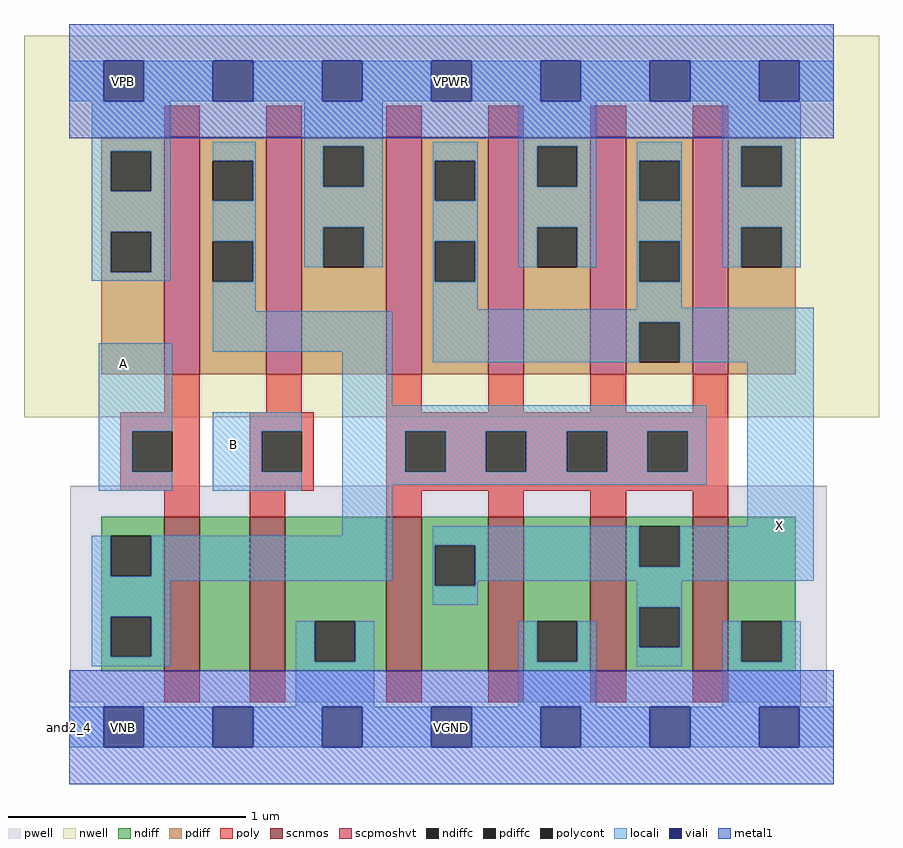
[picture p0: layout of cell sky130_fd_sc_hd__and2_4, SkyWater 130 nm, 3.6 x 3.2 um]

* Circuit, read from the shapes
.subckt sky130_fd_sc_hd__and2_4 A B VGND VNB VPB VPWR X
XM1 n1 A n2 VNB sky130_fd_pr__nfet_01v8 w=0.65 l=0.15
XM2 VGND B n1 VNB sky130_fd_pr__nfet_01v8 w=0.65 l=0.15
XM3 X n2 VGND VNB sky130_fd_pr__nfet_01v8 w=0.65 l=0.15 m=4
XM4 n2 A VPWR VPB sky130_fd_pr__pfet_01v8_hvt w=1 l=0.15
XM5 VPWR B n2 VPB sky130_fd_pr__pfet_01v8_hvt w=1 l=0.15
XM6 X n2 VPWR VPB sky130_fd_pr__pfet_01v8_hvt w=1 l=0.15 m=4
.ends

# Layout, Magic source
magic
tech sky130A
magscale 1 2
<< nwell >>
rect -38 261 682 582
<< pwell >>
rect 1 21 638 203
rect 29 -17 63 21
<< scnmos >>
rect 80 47 110 177
rect 152 47 182 177
rect 267 47 297 177
rect 353 47 383 177
rect 439 47 469 177
rect 525 47 555 177
<< scpmoshvt >>
rect 80 297 110 497
rect 166 297 196 497
rect 267 297 297 497
rect 353 297 383 497
rect 439 297 469 497
rect 525 297 555 497
<< ndiff >>
rect 27 161 80 177
rect 27 127 35 161
rect 69 127 80 161
rect 27 93 80 127
rect 27 59 35 93
rect 69 59 80 93
rect 27 47 80 59
rect 110 47 152 177
rect 182 89 267 177
rect 182 55 207 89
rect 241 55 267 89
rect 182 47 267 55
rect 297 153 353 177
rect 297 119 308 153
rect 342 119 353 153
rect 297 47 353 119
rect 383 89 439 177
rect 383 55 394 89
rect 428 55 439 89
rect 383 47 439 55
rect 469 169 525 177
rect 469 135 480 169
rect 514 135 525 169
rect 469 101 525 135
rect 469 67 480 101
rect 514 67 525 101
rect 469 47 525 67
rect 555 89 612 177
rect 555 55 566 89
rect 600 55 612 89
rect 555 47 612 55
<< pdiff >>
rect 27 485 80 497
rect 27 451 35 485
rect 69 451 80 485
rect 27 417 80 451
rect 27 383 35 417
rect 69 383 80 417
rect 27 297 80 383
rect 110 477 166 497
rect 110 443 121 477
rect 155 443 166 477
rect 110 409 166 443
rect 110 375 121 409
rect 155 375 166 409
rect 110 297 166 375
rect 196 489 267 497
rect 196 455 214 489
rect 248 455 267 489
rect 196 421 267 455
rect 196 387 214 421
rect 248 387 267 421
rect 196 297 267 387
rect 297 477 353 497
rect 297 443 308 477
rect 342 443 353 477
rect 297 409 353 443
rect 297 375 308 409
rect 342 375 353 409
rect 297 297 353 375
rect 383 489 439 497
rect 383 455 394 489
rect 428 455 439 489
rect 383 421 439 455
rect 383 387 394 421
rect 428 387 439 421
rect 383 297 439 387
rect 469 477 525 497
rect 469 443 480 477
rect 514 443 525 477
rect 469 409 525 443
rect 469 375 480 409
rect 514 375 525 409
rect 469 341 525 375
rect 469 307 480 341
rect 514 307 525 341
rect 469 297 525 307
rect 555 489 612 497
rect 555 455 566 489
rect 600 455 612 489
rect 555 421 612 455
rect 555 387 566 421
rect 600 387 612 421
rect 555 297 612 387
<< ndiffc >>
rect 35 127 69 161
rect 35 59 69 93
rect 207 55 241 89
rect 308 119 342 153
rect 394 55 428 89
rect 480 135 514 169
rect 480 67 514 101
rect 566 55 600 89
<< pdiffc >>
rect 35 451 69 485
rect 35 383 69 417
rect 121 443 155 477
rect 121 375 155 409
rect 214 455 248 489
rect 214 387 248 421
rect 308 443 342 477
rect 308 375 342 409
rect 394 455 428 489
rect 394 387 428 421
rect 480 443 514 477
rect 480 375 514 409
rect 480 307 514 341
rect 566 455 600 489
rect 566 387 600 421
<< poly >>
rect 80 497 110 523
rect 166 497 196 523
rect 267 497 297 523
rect 353 497 383 523
rect 439 497 469 523
rect 525 497 555 523
rect 80 265 110 297
rect 166 265 196 297
rect 267 265 297 297
rect 353 265 383 297
rect 439 265 469 297
rect 525 265 555 297
rect 43 249 110 265
rect 43 215 53 249
rect 87 215 110 249
rect 43 199 110 215
rect 80 177 110 199
rect 152 249 206 265
rect 152 215 162 249
rect 196 215 206 249
rect 152 199 206 215
rect 267 249 555 265
rect 267 215 283 249
rect 317 215 351 249
rect 385 215 419 249
rect 453 215 487 249
rect 521 215 555 249
rect 267 199 555 215
rect 152 177 182 199
rect 267 177 297 199
rect 353 177 383 199
rect 439 177 469 199
rect 525 177 555 199
rect 80 21 110 47
rect 152 21 182 47
rect 267 21 297 47
rect 353 21 383 47
rect 439 21 469 47
rect 525 21 555 47
<< polycont >>
rect 53 215 87 249
rect 162 215 196 249
rect 283 215 317 249
rect 351 215 385 249
rect 419 215 453 249
rect 487 215 521 249
<< locali >>
rect 0 527 29 561
rect 63 527 121 561
rect 155 527 213 561
rect 247 527 305 561
rect 339 527 397 561
rect 431 527 489 561
rect 523 527 581 561
rect 615 527 644 561
rect 19 485 85 527
rect 19 451 35 485
rect 69 451 85 485
rect 19 417 85 451
rect 19 383 35 417
rect 69 383 85 417
rect 19 376 85 383
rect 121 477 157 493
rect 155 443 157 477
rect 121 409 157 443
rect 155 375 157 409
rect 198 489 264 527
rect 198 455 214 489
rect 248 455 264 489
rect 198 421 264 455
rect 198 387 214 421
rect 248 387 264 421
rect 306 477 344 493
rect 306 443 308 477
rect 342 443 344 477
rect 306 409 344 443
rect 121 350 157 375
rect 306 375 308 409
rect 342 375 344 409
rect 378 489 444 527
rect 378 455 394 489
rect 428 455 444 489
rect 378 421 444 455
rect 378 387 394 421
rect 428 387 444 421
rect 478 477 516 493
rect 478 443 480 477
rect 514 443 516 477
rect 478 409 516 443
rect 306 352 344 375
rect 478 375 480 409
rect 514 375 516 409
rect 550 489 616 527
rect 550 455 566 489
rect 600 455 616 489
rect 550 421 616 455
rect 550 387 566 421
rect 600 387 616 421
rect 478 353 516 375
rect 478 352 627 353
rect 25 249 87 323
rect 121 316 272 350
rect 230 271 272 316
rect 306 341 627 352
rect 306 307 480 341
rect 514 307 627 341
rect 25 215 53 249
rect 25 199 87 215
rect 121 249 196 265
rect 121 215 162 249
rect 121 199 196 215
rect 230 249 537 271
rect 230 215 283 249
rect 317 215 351 249
rect 385 215 419 249
rect 453 215 487 249
rect 521 215 537 249
rect 230 204 537 215
rect 230 161 272 204
rect 571 169 627 307
rect 19 127 35 161
rect 69 127 272 161
rect 19 123 272 127
rect 306 153 480 169
rect 19 93 85 123
rect 306 119 308 153
rect 342 135 480 153
rect 514 135 627 169
rect 342 123 627 135
rect 342 119 344 123
rect 306 103 344 119
rect 19 59 35 93
rect 69 59 85 93
rect 478 101 516 123
rect 19 51 85 59
rect 191 55 207 89
rect 241 55 257 89
rect 191 17 257 55
rect 378 55 394 89
rect 428 55 444 89
rect 378 17 444 55
rect 478 67 480 101
rect 514 67 516 101
rect 478 51 516 67
rect 550 55 566 89
rect 600 55 616 89
rect 550 17 616 55
rect 0 -17 29 17
rect 63 -17 121 17
rect 155 -17 213 17
rect 247 -17 305 17
rect 339 -17 397 17
rect 431 -17 489 17
rect 523 -17 581 17
rect 615 -17 644 17
<< viali >>
rect 29 527 63 561
rect 121 527 155 561
rect 213 527 247 561
rect 305 527 339 561
rect 397 527 431 561
rect 489 527 523 561
rect 581 527 615 561
rect 29 -17 63 17
rect 121 -17 155 17
rect 213 -17 247 17
rect 305 -17 339 17
rect 397 -17 431 17
rect 489 -17 523 17
rect 581 -17 615 17
<< metal1 >>
rect 0 561 644 592
rect 0 527 29 561
rect 63 527 121 561
rect 155 527 213 561
rect 247 527 305 561
rect 339 527 397 561
rect 431 527 489 561
rect 523 527 581 561
rect 615 527 644 561
rect 0 496 644 527
rect 0 17 644 48
rect 0 -17 29 17
rect 63 -17 121 17
rect 155 -17 213 17
rect 247 -17 305 17
rect 339 -17 397 17
rect 431 -17 489 17
rect 523 -17 581 17
rect 615 -17 644 17
rect 0 -48 644 -17
<< labels >>
flabel locali s 581 153 615 187 0 FreeSans 340 0 0 0 X
port 7 nsew signal output
flabel locali s 121 221 155 255 0 FreeSans 340 0 0 0 B
port 2 nsew signal input
flabel locali s 29 289 63 323 0 FreeSans 340 0 0 0 A
port 1 nsew signal input
flabel pwell s 29 -17 63 17 0 FreeSans 200 0 0 0 VNB
port 4 nsew ground bidirectional
flabel nwell s 29 527 63 561 0 FreeSans 200 0 0 0 VPB
port 5 nsew power bidirectional
flabel metal1 s 29 -17 63 17 0 FreeSans 200 0 0 0 VGND
port 3 nsew ground bidirectional abutment
flabel metal1 s 29 527 63 561 0 FreeSans 200 0 0 0 VPWR
port 6 nsew power bidirectional abutment
rlabel comment s 0 0 0 0 4 and2_4
rlabel metal1 s 0 -48 644 48 1 VGND
port 3 nsew ground bidirectional abutment
rlabel metal1 s 0 496 644 592 1 VPWR
port 6 nsew power bidirectional abutment
<< properties >>
string FIXED_BBOX 0 0 644 544
string GDS_END 3822134
string GDS_FILE $PDKPATH/libs.ref/sky130_fd_sc_hd/gds/sky130_fd_sc_hd.gds
string GDS_START 3816448
string LEFclass CORE
string LEFsite unithd
string LEFsymmetry X Y R90
string path 0.000 0.000 16.100 0.000 
<< end >>
